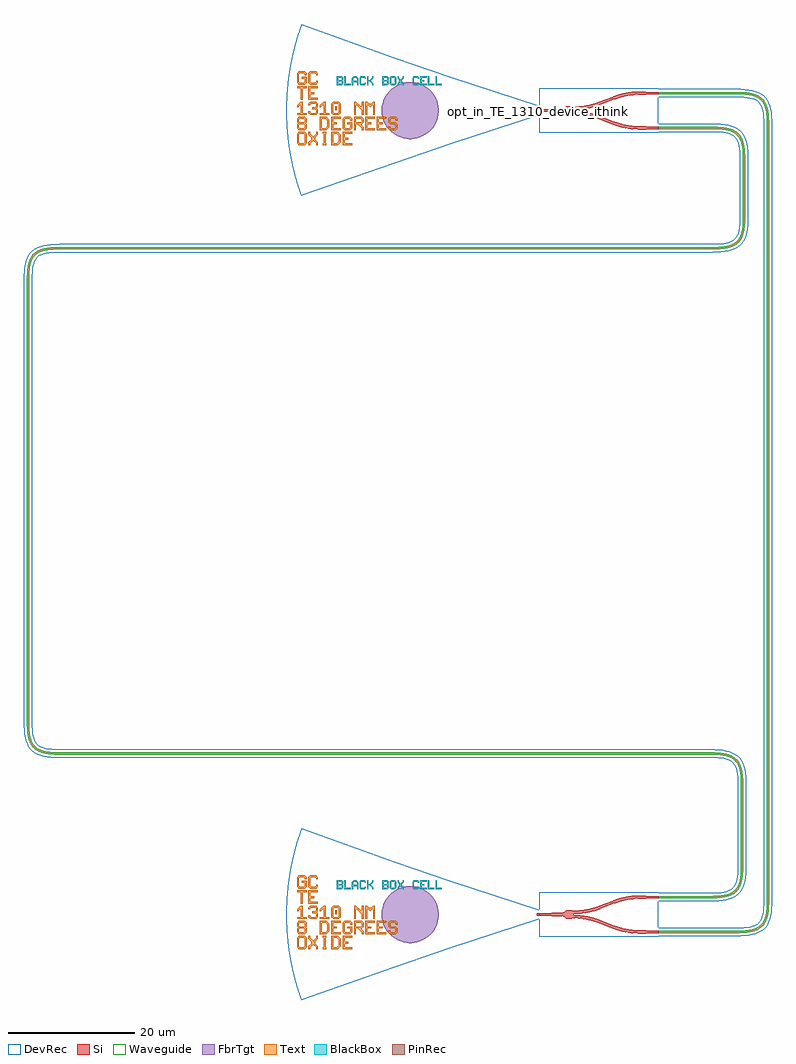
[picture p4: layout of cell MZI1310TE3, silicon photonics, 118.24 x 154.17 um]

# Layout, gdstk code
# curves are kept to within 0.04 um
import gdstk
lib = gdstk.Library(unit=1e-6, precision=1e-09)
def R(c, l, rs):  # rectangles x0, y0, x1, y1
    for r in rs: c.add(gdstk.rectangle(r[:2], r[2:], *l))
def P(c, l, *ps):  # polygons
    for p in ps: c.add(gdstk.Polygon(p, *l))
Si = (1, 0)
PinRec = (1, 10)
Waveguide = (1, 99)
Text = (10, 0)
DevRec = (68, 0)
FbrTgt = (81, 0)
BlackBox = (998, 0)

ebeam_y_1310 = lib.new_cell('ebeam_y_1310')
R(ebeam_y_1310, Si, [(6.5,-3,7.4,-2.5), (-7.4,-0.25,-6,0.25), (6.5,2.5,7.4,3)])
P(ebeam_y_1310, Si, [(6.458,-3),(6.237,-2.997),(6.237,-2.497),(6.5,-2.5),(6.5,-3)],
  [(5.033,-2.908),(3.59,-2.634),(2.265,-2.21),(2.445,-1.744),(3.731,-2.154),(5.033,-2.404)],
  [(6.233,-2.997),(5.033,-2.908),(5.033,-2.404),(6.237,-2.497)],
  [(2.265,-2.21),(0.055,-1.356),(0.235,-0.89),(2.445,-1.744)],
  [(-0.762,-1.076),(-2.334,-0.724),(-4,-0.6),(-4,-0.1),(-2.381,-0.212),(-0.762,-0.555)],
  [(0.055,-1.356),(-0.762,-1.076),(-0.762,-0.555),(0.235,-0.89)],
  [(6.237,2.497),(6.237,2.997),(6.5,3),(6.5,2.5)],
  [(2.445,1.744),(2.267,2.211),(3.59,2.634),(5.033,2.908),(5.033,2.404),(3.731,2.154)],
  [(5.033,2.404),(5.033,2.908),(6.237,2.997),(6.237,2.497)],
  [(0.235,0.89),(0.055,1.356),(2.265,2.21),(2.445,1.744)],
  [(-4,0.1),(-4,0.6),(-2.334,0.724),(-0.762,1.076),(-0.762,0.555),(-2.381,0.212)],
  [(-0.762,0.555),(-0.762,1.076),(0.055,1.356),(0.235,0.89)],
  [(-5.122,-0.662),(-5.442,-0.374),(-5.808,-0.255),(-6,-0.25),(-6,0.25),(-5.817,0.253),(-5.442,0.374),(-5.122,0.662)],
  [(-4.957,-0.703),(-5.122,-0.662),(-5.122,0.662),(-4.538,0.703),(-4,0.6),(-4,-0.6),(-4.509,-0.701)],
  [(-7.4,-0.25),(-9.4,-0.175),(-9.4,0.175),(-7.4,0.25)],
  [(7.4,2.5),(7.4,3),(9.4,2.925),(9.4,2.575)],
  [(7.4,-3),(7.4,-2.5),(9.4,-2.575),(9.4,-2.925)])
R(ebeam_y_1310, DevRec, [(-9.4,-3.5,9.4,3.5)])
ebeam_y_1310.add(gdstk.FlexPath([(9.35,2.75),(9.45,2.75)], 0.35, ends="flush", simple_path=True, layer=1, datatype=10))  # PinRec
ebeam_y_1310.add(gdstk.FlexPath([(9.35,-2.75),(9.45,-2.75)], 0.35, ends="flush", simple_path=True, layer=1, datatype=10))  # PinRec
ebeam_y_1310.add(gdstk.FlexPath([(-9.35,0),(-9.45,0)], 0.35, ends="flush", simple_path=True, layer=1, datatype=10))  # PinRec
ebeam_y_1310.add(gdstk.Label('Ref: Y Zhang, Opt. Express, 21/1, 2013, for 1550 nm\nWorks reasonably well at 1310 nm', (-9.25,-1), layer=10, texttype=0))
ebeam_y_1310.add(gdstk.Label('opt2', (9.4,2.75), layer=1, texttype=10))
ebeam_y_1310.add(gdstk.Label('opt3', (9.4,-2.75), layer=1, texttype=10))
ebeam_y_1310.add(gdstk.Label('opt1', (-9.4,0), layer=1, texttype=10))
ebeam_y_1310.add(gdstk.Label('Lumerical_INTERCONNECT_library=Design kits/ebeam', (-6.86,-2.19), layer=68, texttype=0))
ebeam_y_1310.add(gdstk.Label('Component=ebeam_y_1310', (-9,1.5), layer=68, texttype=0))

text_10 = lib.new_cell('TEXT$10')
P(text_10, BlackBox, [(0,0),(0,1.4),(0.8,1.4),(1,1.2),(0.2,1.2),(0.2,0.8),(0.7,0.8),(0.8,0.9),(0.8,1.1),(0.7,1.2),(1,1.2),(1,0.8),(0.9,0.7),(1,0.6),(0.2,0.6),(0.2,0.2),(0.7,0.2),(0.8,0.3),(0.8,0.5),(0.7,0.6),(1,0.6),(1,0.2),(0.8,0)],
  [(1.2,0),(1.2,1.4),(1.4,1.4),(1.4,0.2),(2.2,0.2),(2.2,0)],
  [(2.4,0),(2.4,1.1),(2.7,1.4),(3.1,1.4),(3.3,1.2),(2.8,1.2),(2.6,1),(2.6,0.7),(3.2,0.7),(3.2,1),(3,1.2),(3.3,1.2),(3.4,1.1),(3.4,0),(3.2,0),(3.2,0.5),(2.6,0.5),(2.6,0)],
  [(3.8,0),(3.6,0.2),(3.6,1.2),(3.8,1.4),(4.4,1.4),(4.6,1.2),(4.6,1),(4.4,1),(4.4,1.1),(4.3,1.2),(3.9,1.2),(3.8,1.1),(3.8,0.3),(3.9,0.2),(4.3,0.2),(4.4,0.3),(4.4,0.4),(4.6,0.4),(4.6,0.2),(4.4,0)],
  [(4.8,0),(4.8,1.4),(5,1.4),(5,0.8),(5.2,0.8),(5.6,1.2),(5.6,1.4),(5.8,1.4),(5.8,1.1),(5.4,0.7),(5.8,0.3),(5.8,0),(5.6,0),(5.6,0.2),(5.2,0.6),(5,0.6),(5,0)],
  [(7.2,0),(7.2,1.4),(8,1.4),(8.2,1.2),(7.4,1.2),(7.4,0.8),(7.9,0.8),(8,0.9),(8,1.1),(7.9,1.2),(8.2,1.2),(8.2,0.8),(8.1,0.7),(8.2,0.6),(7.4,0.6),(7.4,0.2),(7.9,0.2),(8,0.3),(8,0.5),(7.9,0.6),(8.2,0.6),(8.2,0.2),(8,0)],
  [(8.6,0),(8.4,0.2),(8.4,1.2),(8.6,1.4),(9.2,1.4),(9.4,1.2),(9.4,0.7),(9.2,0.7),(9.2,1.1),(9.1,1.2),(8.7,1.2),(8.6,1.1),(8.6,0.3),(8.7,0.2),(9.1,0.2),(9.2,0.3),(9.2,0.7),(9.4,0.7),(9.4,0.2),(9.2,0)],
  [(9.6,0),(9.6,0.3),(9.9,0.6),(9.9,0.8),(9.6,1.1),(9.6,1.4),(9.8,1.4),(9.8,1.2),(10.1,0.9),(10.4,1.2),(10.4,1.4),(10.6,1.4),(10.6,1.1),(10.3,0.8),(10.3,0.6),(10.6,0.3),(10.6,0),(10.4,0),(10.4,0.2),(10.1,0.5),(9.8,0.2),(9.8,0)],
  [(12.2,0),(12,0.2),(12,1.2),(12.2,1.4),(12.8,1.4),(13,1.2),(13,1),(12.8,1),(12.8,1.1),(12.7,1.2),(12.3,1.2),(12.2,1.1),(12.2,0.3),(12.3,0.2),(12.7,0.2),(12.8,0.3),(12.8,0.4),(13,0.4),(13,0.2),(12.8,0)],
  [(13.2,0),(13.2,1.4),(14.2,1.4),(14.2,1.2),(13.4,1.2),(13.4,0.8),(13.8,0.8),(13.8,0.6),(13.4,0.6),(13.4,0.2),(14.2,0.2),(14.2,0)],
  [(14.4,0),(14.4,1.4),(14.6,1.4),(14.6,0.2),(15.4,0.2),(15.4,0)],
  [(15.6,0),(15.6,1.4),(15.8,1.4),(15.8,0.2),(16.6,0.2),(16.6,0)])

gc_te_1310_8degoxide_bb = lib.new_cell('GC_TE_1310_8degOxide_BB')
R(gc_te_1310_8degoxide_bb, Si, [(-0.4,-0.175,0,0.175)])
R(gc_te_1310_8degoxide_bb, Text, [(-32.27,0.06,-31.97,0.66)])
P(gc_te_1310_8degoxide_bb, Text, [(-37.67,1.71),(-37.67,3.51),(-38.27,3.51),(-38.27,3.81),(-36.77,3.81),(-36.77,3.51),(-37.37,3.51),(-37.37,1.71)],
  [(-37.97,-5.49),(-38.27,-5.19),(-38.27,-3.69),(-37.97,-3.39),(-37.07,-3.39),(-36.77,-3.69),(-36.77,-4.44),(-37.07,-4.44),(-37.07,-3.84),(-37.22,-3.69),(-37.82,-3.69),(-37.97,-3.84),(-37.97,-5.04),(-37.82,-5.19),(-37.22,-5.19),(-37.07,-5.04),(-37.07,-4.44),(-36.77,-4.44),(-36.77,-5.19),(-37.07,-5.49)],
  [(-31.07,-5.49),(-31.07,-3.39),(-29.57,-3.39),(-29.57,-3.69),(-30.77,-3.69),(-30.77,-4.29),(-30.17,-4.29),(-30.17,-4.59),(-30.77,-4.59),(-30.77,-5.19),(-29.57,-5.19),(-29.57,-5.49)],
  [(-32.87,-3.09),(-32.87,-0.99),(-31.37,-0.99),(-31.37,-1.29),(-32.57,-1.29),(-32.57,-1.89),(-31.97,-1.89),(-31.97,-2.19),(-32.57,-2.19),(-32.57,-2.79),(-31.37,-2.79),(-31.37,-3.09)],
  [(-27.47,-3.09),(-27.47,-0.99),(-25.97,-0.99),(-25.97,-1.29),(-27.17,-1.29),(-27.17,-1.89),(-26.57,-1.89),(-26.57,-2.19),(-27.17,-2.19),(-27.17,-2.79),(-25.97,-2.79),(-25.97,-3.09)],
  [(-25.67,-3.09),(-25.67,-0.99),(-24.17,-0.99),(-24.17,-1.29),(-25.37,-1.29),(-25.37,-1.89),(-24.77,-1.89),(-24.77,-2.19),(-25.37,-2.19),(-25.37,-2.79),(-24.17,-2.79),(-24.17,-3.09)],
  [(-36.47,1.71),(-36.47,3.81),(-34.97,3.81),(-34.97,3.51),(-36.17,3.51),(-36.17,2.91),(-35.57,2.91),(-35.57,2.61),(-36.17,2.61),(-36.17,2.01),(-34.97,2.01),(-34.97,1.71)],
  [(-27.47,-0.69),(-27.47,1.41),(-27.17,1.41),(-26.87,1.11),(-26.57,1.11),(-26.27,1.41),(-25.97,1.41),(-25.97,-0.69),(-26.27,-0.69),(-26.27,0.81),(-26.42,0.81),(-26.72,0.51),(-27.02,0.81),(-27.17,0.81),(-27.17,-0.69)],
  [(-29.27,-0.69),(-29.27,1.41),(-28.97,1.41),(-28.22,0.66),(-28.07,0.66),(-28.07,1.41),(-27.77,1.41),(-27.77,-0.69),(-28.07,-0.69),(-28.07,0.06),(-28.82,0.81),(-28.97,0.81),(-28.97,-0.69)],
  [(-34.22,-5.49),(-34.22,-5.19),(-34.07,-5.19),(-34.07,-3.69),(-34.22,-3.69),(-34.22,-3.39),(-33.62,-3.39),(-33.62,-3.69),(-33.77,-3.69),(-33.77,-5.19),(-33.62,-5.19),(-33.62,-5.49)],
  [(-36.17,-0.69),(-36.47,-0.39),(-36.47,-0.09),(-36.17,-0.09),(-36.17,-0.24),(-36.02,-0.39),(-35.42,-0.39),(-35.27,-0.24),(-35.27,0.06),(-35.42,0.21),(-35.87,0.21),(-35.87,0.51),(-35.42,0.51),(-35.27,0.66),(-35.27,0.96),(-35.42,1.11),(-36.02,1.11),(-36.17,0.96),(-36.17,0.81),(-36.47,0.81),(-36.47,1.11),(-36.17,1.41),(-35.27,1.41),(-34.97,1.11),(-34.97,0.51),(-35.12,0.36),(-34.97,0.21),(-34.97,-0.39),(-35.27,-0.69)],
  [(-29.27,-3.09),(-29.27,-0.99),(-28.07,-0.99),(-27.77,-1.29),(-28.97,-1.29),(-28.97,-1.89),(-28.22,-1.89),(-28.07,-1.74),(-28.07,-1.44),(-28.22,-1.29),(-27.77,-1.29),(-27.77,-1.89),(-28.07,-2.19),(-28.07,-2.34),(-27.77,-2.64),(-27.77,-3.09),(-28.07,-3.09),(-28.07,-2.79),(-28.67,-2.19),(-28.97,-2.19),(-28.97,-3.09)],
  [(-30.77,-3.09),(-31.07,-2.79),(-31.07,-1.29),(-30.77,-0.99),(-29.87,-0.99),(-29.57,-1.29),(-29.57,-1.59),(-29.87,-1.59),(-29.87,-1.44),(-30.02,-1.29),(-30.62,-1.29),(-30.77,-1.44),(-30.77,-2.64),(-30.62,-2.79),(-30.02,-2.79),(-29.87,-2.64),(-29.87,-2.19),(-30.32,-2.19),(-30.32,-1.89),(-29.57,-1.89),(-29.57,-2.79),(-29.87,-3.09)],
  [(-37.97,4.11),(-38.27,4.41),(-38.27,5.91),(-37.97,6.21),(-37.07,6.21),(-36.77,5.91),(-36.77,5.61),(-37.07,5.61),(-37.07,5.76),(-37.22,5.91),(-37.82,5.91),(-37.97,5.76),(-37.97,4.56),(-37.82,4.41),(-37.22,4.41),(-37.07,4.56),(-37.07,5.01),(-37.52,5.01),(-37.52,5.31),(-36.77,5.31),(-36.77,4.41),(-37.07,4.11)],
  [(-32.57,-0.69),(-32.87,-0.39),(-32.87,1.11),(-32.57,1.41),(-31.67,1.41),(-31.37,1.11),(-32.42,1.11),(-32.57,0.96),(-32.57,-0.24),(-32.42,-0.39),(-31.82,-0.39),(-31.67,-0.24),(-31.67,0.96),(-31.82,1.11),(-31.37,1.11),(-31.37,-0.39),(-31.67,-0.69)],
  [(-32.87,-5.49),(-32.87,-3.39),(-31.82,-3.39),(-31.52,-3.69),(-32.57,-3.69),(-32.57,-5.19),(-31.97,-5.19),(-31.67,-4.89),(-31.67,-3.99),(-31.97,-3.69),(-31.52,-3.69),(-31.37,-3.84),(-31.37,-5.04),(-31.82,-5.49)],
  [(-34.67,-3.09),(-34.67,-0.99),(-33.62,-0.99),(-33.32,-1.29),(-34.37,-1.29),(-34.37,-2.79),(-33.77,-2.79),(-33.47,-2.49),(-33.47,-1.59),(-33.77,-1.29),(-33.32,-1.29),(-33.17,-1.44),(-33.17,-2.64),(-33.62,-3.09)],
  [(-23.57,-3.09),(-23.87,-2.79),(-23.87,-2.49),(-23.57,-2.49),(-23.57,-2.64),(-23.42,-2.79),(-22.82,-2.79),(-22.67,-2.64),(-22.67,-2.34),(-22.82,-2.19),(-23.57,-2.19),(-23.87,-1.89),(-23.87,-1.29),(-23.57,-0.99),(-22.67,-0.99),(-22.37,-1.29),(-22.37,-1.59),(-22.67,-1.59),(-22.67,-1.44),(-22.82,-1.29),(-23.42,-1.29),(-23.57,-1.44),(-23.57,-1.74),(-23.42,-1.89),(-22.67,-1.89),(-22.37,-2.19),(-22.37,-2.79),(-22.67,-3.09)],
  [(-37.97,-3.09),(-38.27,-2.79),(-38.27,-2.19),(-38.12,-2.04),(-38.27,-1.89),(-38.27,-1.29),(-37.97,-0.99),(-37.07,-0.99),(-36.77,-1.29),(-37.82,-1.29),(-37.97,-1.44),(-37.97,-1.74),(-37.82,-1.89),(-37.22,-1.89),(-37.07,-1.74),(-37.07,-1.44),(-37.22,-1.29),(-36.77,-1.29),(-36.77,-1.89),(-36.92,-2.04),(-36.77,-2.19),(-37.82,-2.19),(-37.97,-2.34),(-37.97,-2.64),(-37.82,-2.79),(-37.22,-2.79),(-37.07,-2.64),(-37.07,-2.34),(-37.22,-2.19),(-36.77,-2.19),(-36.77,-2.79),(-37.07,-3.09)],
  [(-38.27,-0.69),(-38.27,-0.39),(-37.67,-0.39),(-37.67,0.81),(-37.82,0.81),(-38.12,0.51),(-38.27,0.51),(-38.27,0.81),(-37.67,1.41),(-37.37,1.41),(-37.37,-0.39),(-36.77,-0.39),(-36.77,-0.69)],
  [(-34.67,-0.69),(-34.67,-0.39),(-34.07,-0.39),(-34.07,0.81),(-34.22,0.81),(-34.52,0.51),(-34.67,0.51),(-34.67,0.81),(-34.07,1.41),(-33.77,1.41),(-33.77,-0.39),(-33.17,-0.39),(-33.17,-0.69)],
  [(-36.47,-5.49),(-36.47,-5.04),(-36.02,-4.59),(-36.02,-4.29),(-36.47,-3.84),(-36.47,-3.39),(-36.17,-3.39),(-36.17,-3.69),(-35.72,-4.14),(-35.27,-3.69),(-35.27,-3.39),(-34.97,-3.39),(-34.97,-3.84),(-35.42,-4.29),(-35.42,-4.59),(-34.97,-5.04),(-34.97,-5.49),(-35.27,-5.49),(-35.27,-5.19),(-35.72,-4.74),(-36.17,-5.19),(-36.17,-5.49)],
  [(-36.17,4.11),(-36.47,4.41),(-36.47,5.91),(-36.17,6.21),(-35.27,6.21),(-34.97,5.91),(-34.97,5.61),(-35.27,5.61),(-35.27,5.76),(-35.42,5.91),(-36.02,5.91),(-36.17,5.76),(-36.17,4.56),(-36.02,4.41),(-35.42,4.41),(-35.27,4.56),(-35.27,4.71),(-34.97,4.71),(-34.97,4.41),(-35.27,4.11)])
P(gc_te_1310_8degoxide_bb, DevRec, [(-37.607,-13.5),(-38.627,-10.245),(-39.378,-6.832),(-39.647,-5.058),(-39.835,-3.274),(-39.969,0.224),(-39.812,3.541),(-39.331,7.097),(-38.557,10.505),(-37.546,13.669),(-22.8,8.353),(-14.109,5.36),(0,0.75),(0,-0.75),(-14.109,-5.36)])
P(gc_te_1310_8degoxide_bb, FbrTgt, [(-20.621,-4.5),(-21.495,-4.37),(-22.326,-4.073),(-23.084,-3.619),(-23.738,-3.026),(-24.264,-2.316),(-24.642,-1.518),(-24.857,-0.661),(-24.9,0.221),(-24.77,1.095),(-24.473,1.926),(-24.019,2.684),(-23.426,3.338),(-22.716,3.864),(-21.918,4.242),(-21.061,4.457),(-20.179,4.5),(-19.305,4.37),(-18.474,4.073),(-17.716,3.619),(-17.062,3.026),(-16.536,2.316),(-16.158,1.518),(-15.943,0.661),(-15.9,-0.221),(-16.03,-1.095),(-16.327,-1.926),(-16.781,-2.684),(-17.374,-3.338),(-18.084,-3.864),(-18.882,-4.242),(-19.739,-4.457)])
gc_te_1310_8degoxide_bb.add(gdstk.FlexPath([(-0.01,0),(0.01,0)], 0.35, ends="flush", simple_path=True, layer=1, datatype=10))  # PinRec
gc_te_1310_8degoxide_bb.add(gdstk.Reference(text_10, (-32,4)))
gc_te_1310_8degoxide_bb.add(gdstk.Label('opt1', (0,0), layer=1, texttype=10))
gc_te_1310_8degoxide_bb.add(gdstk.Label('Lumerical_INTERCONNECT_library=Design kits/ebeam', (-29,-7), layer=68, texttype=0))
gc_te_1310_8degoxide_bb.add(gdstk.Label('Component=GC_TE_1310_8degOxide_BB', (-28,-5), layer=68, texttype=0))

waveguide_4 = lib.new_cell('Waveguide$4')
P(waveguide_4, Si, [(5.07,-3.105),(5.07,-2.755),(17.608,-2.753),(18.783,-2.701),(19.748,-2.557),(20.28,-2.405),(20.73,-2.205),(21.105,-1.953),(21.414,-1.644),(21.666,-1.269),(21.866,-0.819),(22.018,-0.287),(22.144,0.503),(22.215,2.07),(22.215,124.57),(22.123,126.308),(22.017,126.928),(21.82,127.58),(21.606,128.01),(21.341,128.367),(20.924,128.727),(20.514,128.952),(19.447,129.257),(18.601,129.356),(17.607,129.394),(5.07,129.395),(5.07,129.745),(17.611,129.744),(18.995,129.672),(19.974,129.504),(20.656,129.272),(21.225,128.943),(21.683,128.507),(22.033,127.96),(22.323,127.155),(22.471,126.352),(22.555,125.216),(22.565,2.07),(22.492,0.465),(22.36,-0.363),(22.196,-0.937),(21.972,-1.437),(21.684,-1.866),(21.327,-2.223),(20.898,-2.511),(20.398,-2.735),(19.668,-2.931),(18.628,-3.065),(17.612,-3.103)])
P(waveguide_4, Waveguide, [(5.07,-3.105),(5.07,-2.755),(17.608,-2.753),(18.783,-2.701),(19.748,-2.557),(20.28,-2.405),(20.73,-2.205),(21.105,-1.953),(21.414,-1.644),(21.666,-1.269),(21.866,-0.819),(22.018,-0.287),(22.144,0.503),(22.215,2.07),(22.215,124.57),(22.123,126.308),(22.017,126.928),(21.82,127.58),(21.606,128.01),(21.341,128.367),(20.924,128.727),(20.514,128.952),(19.447,129.257),(18.601,129.356),(17.607,129.394),(5.07,129.395),(5.07,129.745),(17.611,129.744),(18.995,129.672),(19.974,129.504),(20.656,129.272),(21.225,128.943),(21.683,128.507),(22.033,127.96),(22.323,127.155),(22.471,126.352),(22.555,125.216),(22.565,2.07),(22.492,0.465),(22.36,-0.363),(22.196,-0.937),(21.972,-1.437),(21.684,-1.866),(21.327,-2.223),(20.898,-2.511),(20.398,-2.735),(19.668,-2.931),(18.628,-3.065),(17.612,-3.103)])
P(waveguide_4, DevRec, [(5.07,-3.605),(5.07,-2.255),(18.042,-2.244),(19.146,-2.156),(19.989,-1.975),(20.588,-1.708),(20.815,-1.544),(21.169,-1.127),(21.436,-0.528),(21.538,-0.138),(21.673,0.834),(21.715,2.07),(21.715,124.57),(21.616,126.326),(21.435,127.169),(21.312,127.497),(21.004,127.995),(20.814,128.185),(20.316,128.493),(19.145,128.797),(17.389,128.895),(5.07,128.895),(5.07,130.245),(17.391,130.245),(18.734,130.199),(19.884,130.038),(20.868,129.725),(21.69,129.211),(22.03,128.871),(22.314,128.482),(22.723,127.575),(22.954,126.512),(23.054,125.27),(23.065,2.07),(23.019,0.726),(22.858,-0.424),(22.724,-0.934),(22.315,-1.841),(22.031,-2.23),(21.302,-2.854),(20.869,-3.084),(19.885,-3.397),(18.735,-3.558),(17.391,-3.605)])
waveguide_4.add(gdstk.FlexPath([(5.08,129.57),(5.06,129.57)], 0.35, ends="flush", simple_path=True, layer=1, datatype=10))  # PinRec
waveguide_4.add(gdstk.FlexPath([(5.08,-2.93),(5.06,-2.93)], 0.35, ends="flush", simple_path=True, layer=1, datatype=10))  # PinRec
waveguide_4.add(gdstk.Label('opt1', (5.07,129.57), layer=1, texttype=10))
waveguide_4.add(gdstk.Label('opt2', (5.07,-2.93), layer=1, texttype=10))
waveguide_4.add(gdstk.Label('Lumerical_INTERCONNECT_library=Design kits/EBeam', (5.07,129.5), layer=68, texttype=0))
waveguide_4.add(gdstk.Label('Component=ebeam_wg_integral_1310', (5.07,129.64), layer=68, texttype=0))
waveguide_4.add(gdstk.Label('cellName=Waveguide', (5.07,129.71), layer=68, texttype=0))
waveguide_4.add(gdstk.Label('Spice_param:wg_length=0.000164047 wg_width=3.5e-07 points="[[5.07,129.57],[22.39,129.57],[22.39,-2.93],[5.07,-2.93]]" radius=5e-06', (5.07,129.57), layer=68, texttype=0))
waveguide_4.add(gdstk.Label('Length=164.047 (microns)', (5.07,129.15), layer=68, texttype=0))
waveguide_4.add(gdstk.Label('waveguide_type=Strip TE 1310 nm, w=350 nm', (5.07,129.43), layer=68, texttype=0))

waveguide_22 = lib.new_cell('Waveguide$22')
P(waveguide_22, Si, [(5.07,2.395),(5.07,2.745),(13.518,2.747),(14.512,2.785),(15.358,2.884),(16.19,3.095),(16.835,3.414),(17.324,3.856),(17.682,4.446),(17.987,5.513),(18.121,7.141),(18.125,20.25),(18.071,21.643),(17.857,22.884),(17.681,23.375),(17.39,23.878),(17.014,24.274),(16.639,24.526),(16.189,24.726),(15.657,24.878),(14.692,25.022),(13.3,25.075),(-89.722,25.077),(-91.106,25.149),(-92.085,25.317),(-93.008,25.669),(-93.624,26.126),(-94.082,26.743),(-94.434,27.666),(-94.62,28.826),(-94.675,30.25),(-94.67,100.506),(-94.581,101.852),(-94.393,102.8),(-94.081,103.578),(-93.624,104.194),(-93.007,104.652),(-92.084,105.004),(-91.105,105.172),(-89.721,105.244),(13.61,105.245),(14.822,105.285),(15.668,105.384),(16.735,105.689),(17.145,105.914),(17.562,106.274),(17.827,106.631),(18.041,107.061),(18.238,107.713),(18.344,108.333),(18.434,109.853),(18.425,119.704),(18.267,121.282),(18.085,121.96),(17.885,122.41),(17.486,122.946),(16.949,123.346),(16.243,123.628),(15.51,123.782),(13.827,123.894),(5.07,123.895),(5.07,124.245),(14.847,124.206),(15.887,124.072),(16.617,123.876),(17.231,123.587),(17.734,123.194),(18.126,122.692),(18.415,122.078),(18.611,121.348),(18.745,120.308),(18.785,119.07),(18.785,110.07),(18.712,108.465),(18.58,107.637),(18.416,107.063),(18.192,106.563),(17.904,106.134),(17.547,105.777),(17.118,105.489),(16.618,105.265),(15.888,105.069),(14.848,104.935),(13.61,104.895),(-90.133,104.886),(-91.237,104.804),(-91.998,104.664),(-92.624,104.452),(-93.214,104.094),(-93.656,103.605),(-93.93,103.08),(-94.127,102.428),(-94.253,101.638),(-94.325,100.07),(-94.324,30.033),(-94.272,28.858),(-94.094,27.752),(-93.776,26.911),(-93.376,26.374),(-92.84,25.975),(-91.999,25.657),(-90.893,25.479),(-89.718,25.427),(13.3,25.425),(14.724,25.37),(15.884,25.184),(16.439,25.005),(16.921,24.767),(17.332,24.462),(17.672,24.086),(17.943,23.64),(18.151,23.121),(18.301,22.528),(18.419,21.675),(18.475,20.25),(18.466,6.925),(18.302,5.293),(18.152,4.7),(17.944,4.181),(17.512,3.538),(16.922,3.054),(16.171,2.719),(15.082,2.489),(13.522,2.397)])
P(waveguide_22, Waveguide, [(5.07,2.395),(5.07,2.745),(13.518,2.747),(14.512,2.785),(15.358,2.884),(16.19,3.095),(16.835,3.414),(17.324,3.856),(17.682,4.446),(17.987,5.513),(18.121,7.141),(18.125,20.25),(18.071,21.643),(17.857,22.884),(17.681,23.375),(17.39,23.878),(17.014,24.274),(16.639,24.526),(16.189,24.726),(15.657,24.878),(14.692,25.022),(13.3,25.075),(-89.722,25.077),(-91.106,25.149),(-92.085,25.317),(-93.008,25.669),(-93.624,26.126),(-94.082,26.743),(-94.434,27.666),(-94.62,28.826),(-94.675,30.25),(-94.67,100.506),(-94.581,101.852),(-94.393,102.8),(-94.081,103.578),(-93.624,104.194),(-93.007,104.652),(-92.084,105.004),(-91.105,105.172),(-89.721,105.244),(13.61,105.245),(14.822,105.285),(15.668,105.384),(16.735,105.689),(17.145,105.914),(17.562,106.274),(17.827,106.631),(18.041,107.061),(18.238,107.713),(18.344,108.333),(18.434,109.853),(18.425,119.704),(18.267,121.282),(18.085,121.96),(17.885,122.41),(17.486,122.946),(16.949,123.346),(16.243,123.628),(15.51,123.782),(13.827,123.894),(5.07,123.895),(5.07,124.245),(14.847,124.206),(15.887,124.072),(16.617,123.876),(17.231,123.587),(17.734,123.194),(18.126,122.692),(18.415,122.078),(18.611,121.348),(18.745,120.308),(18.785,119.07),(18.785,110.07),(18.712,108.465),(18.58,107.637),(18.416,107.063),(18.192,106.563),(17.904,106.134),(17.547,105.777),(17.118,105.489),(16.618,105.265),(15.888,105.069),(14.848,104.935),(13.61,104.895),(-90.133,104.886),(-91.237,104.804),(-91.998,104.664),(-92.624,104.452),(-93.214,104.094),(-93.656,103.605),(-93.93,103.08),(-94.127,102.428),(-94.253,101.638),(-94.325,100.07),(-94.324,30.033),(-94.272,28.858),(-94.094,27.752),(-93.776,26.911),(-93.376,26.374),(-92.84,25.975),(-91.999,25.657),(-90.893,25.479),(-89.718,25.427),(13.3,25.425),(14.724,25.37),(15.884,25.184),(16.439,25.005),(16.921,24.767),(17.332,24.462),(17.672,24.086),(17.943,23.64),(18.151,23.121),(18.301,22.528),(18.419,21.675),(18.475,20.25),(18.466,6.925),(18.302,5.293),(18.152,4.7),(17.944,4.181),(17.512,3.538),(16.922,3.054),(16.171,2.719),(15.082,2.489),(13.522,2.397)])
P(waveguide_22, DevRec, [(5.07,1.895),(5.07,3.245),(13.299,3.245),(15.056,3.344),(15.899,3.525),(16.498,3.792),(16.915,4.146),(17.223,4.644),(17.527,5.815),(17.615,6.918),(17.625,20.249),(17.582,21.487),(17.447,22.459),(17.345,22.849),(17.078,23.448),(16.914,23.675),(16.497,24.029),(15.898,24.296),(15.508,24.398),(14.536,24.533),(13.3,24.575),(-89.5,24.575),(-91.442,24.686),(-92.505,24.917),(-93.412,25.326),(-94.141,25.95),(-94.655,26.772),(-94.968,27.756),(-95.129,28.906),(-95.175,30.25),(-95.175,100.07),(-95.064,102.012),(-94.833,103.075),(-94.424,103.982),(-93.8,104.711),(-92.978,105.225),(-91.994,105.538),(-90.844,105.699),(-89.5,105.745),(13.61,105.745),(15.366,105.844),(16.209,106.025),(16.537,106.148),(17.035,106.456),(17.225,106.646),(17.533,107.144),(17.837,108.315),(17.935,110.071),(17.924,119.722),(17.757,121.279),(17.655,121.669),(17.388,122.268),(17.034,122.685),(16.536,122.993),(15.818,123.218),(14.846,123.353),(5.07,123.395),(5.07,124.745),(14.954,124.699),(16.104,124.538),(17.088,124.225),(17.91,123.711),(18.25,123.371),(18.534,122.982),(18.943,122.075),(19.077,121.565),(19.238,120.415),(19.285,119.071),(19.285,110.069),(19.175,108.129),(18.944,107.066),(18.765,106.592),(18.251,105.77),(17.522,105.146),(17.089,104.916),(16.105,104.603),(14.955,104.442),(13.61,104.395),(-90.152,104.385),(-91.708,104.218),(-92.098,104.116),(-92.697,103.849),(-93.114,103.495),(-93.422,102.997),(-93.726,101.826),(-93.825,100.07),(-93.825,30.25),(-93.783,29.014),(-93.648,28.042),(-93.423,27.324),(-93.115,26.826),(-92.925,26.636),(-92.427,26.328),(-91.709,26.103),(-90.737,25.968),(-89.5,25.925),(13.3,25.925),(14.644,25.879),(15.794,25.718),(16.778,25.405),(17.211,25.175),(17.94,24.551),(18.454,23.729),(18.633,23.255),(18.864,22.192),(18.975,20.251),(18.965,6.872),(18.768,5.076),(18.455,4.092),(17.941,3.27),(17.212,2.646),(16.305,2.237),(15.242,2.006),(13.301,1.895)])
waveguide_22.add(gdstk.FlexPath([(5.08,124.07),(5.06,124.07)], 0.35, ends="flush", simple_path=True, layer=1, datatype=10))  # PinRec
waveguide_22.add(gdstk.FlexPath([(5.08,2.57),(5.06,2.57)], 0.35, ends="flush", simple_path=True, layer=1, datatype=10))  # PinRec
waveguide_22.add(gdstk.Label('opt1', (5.07,124.07), layer=1, texttype=10))
waveguide_22.add(gdstk.Label('opt2', (5.07,2.57), layer=1, texttype=10))
waveguide_22.add(gdstk.Label('Lumerical_INTERCONNECT_library=Design kits/EBeam', (5.07,124), layer=68, texttype=0))
waveguide_22.add(gdstk.Label('Component=ebeam_wg_integral_1310', (5.07,124.14), layer=68, texttype=0))
waveguide_22.add(gdstk.Label('cellName=Waveguide', (5.07,124.21), layer=68, texttype=0))
waveguide_22.add(gdstk.Label('Spice_param:wg_length=0.000364902 wg_width=3.5e-07 points="[[5.07,124.07],[18.61,124.07],[18.61,105.07],[-94.5,105.07],[-94.5,25.25],[18.3,25.25],[18.3,2.57],[5.07,2.57]]" radius=5e-06', (5.07,124.07), layer=68, texttype=0))
waveguide_22.add(gdstk.Label('Length=364.902 (microns)', (5.07,123.65), layer=68, texttype=0))
waveguide_22.add(gdstk.Label('waveguide_type=Strip TE 1310 nm, w=350 nm', (5.07,123.93), layer=68, texttype=0))

mzi1310te3 = lib.new_cell('MZI1310TE3')
mzi1310te3.add(gdstk.Reference(ebeam_y_1310, (-4.33,126.82)))
mzi1310te3.add(gdstk.Reference(ebeam_y_1310, (-4.33,-0.18)))
mzi1310te3.add(gdstk.Reference(gc_te_1310_8degoxide_bb, (-13.73,-0.18)))
mzi1310te3.add(gdstk.Reference(waveguide_4, (0,0)))
mzi1310te3.add(gdstk.Reference(waveguide_22, (0,0)))
mzi1310te3.add(gdstk.Reference(gc_te_1310_8degoxide_bb, (-13.73,126.82)))
mzi1310te3.add(gdstk.Label('opt_in_TE_1310_device_ithinkiamsudipta_circuit2_MZI1310TE3', (-13.91,126.7), layer=10, texttype=0))

lib.write_gds('MZI1310TE3.gds')
